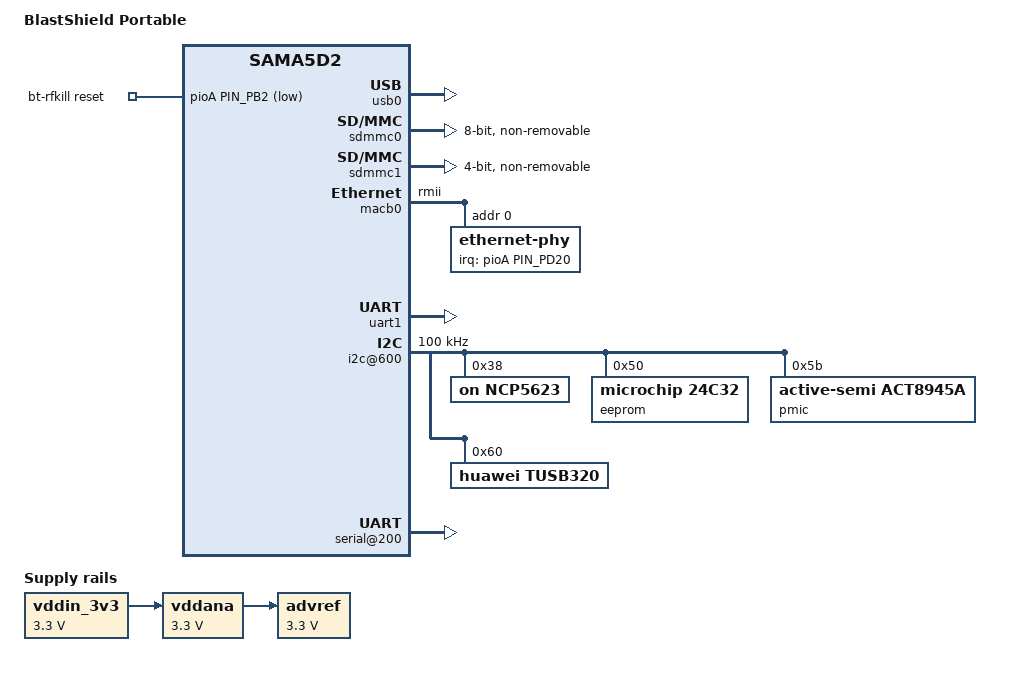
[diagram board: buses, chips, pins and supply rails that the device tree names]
// SPDX-License-Identifier: (GPL-2.0+ OR MIT)
/*
 * at91-sama5d27_som1_ek.dts - Device Tree file for SAMA5D27-SOM1-EK board
 *
 *  Copyright (c) 2017, Microchip Technology Inc.
 *                2016 Nicolas Ferre <nicolas.ferre@atmel.com>
 *                2017 Cristian Birsan <cristian.birsan@microchip.com>
 *                2017 Claudiu Beznea <claudiu.beznea@microchip.com>
 */
/dts-v1/;
#include "sama5d2.dtsi"
#include "sama5d2-pinfunc.h"
#include <dt-bindings/mfd/atmel-flexcom.h>
#include <dt-bindings/gpio/gpio.h>

/ {
	model = "BlastShield Portable";
	compatible = "blastwave,blastshield-portable-v2", "atmel,sama5d27",
	    "atmel,sama5d2", "atmel,sama5";

	aliases {
		serial0 = &uart1;	/* DBGU */
	};

	chosen {
		stdout-path = "serial0:115200n8";
	};

	clocks {
		slow_xtal {
			clock-frequency = <32768>;
		};

		main_xtal {
			clock-frequency = <12000000>;
		};
	};

	firmware {
		optee {
			compatible = "linaro,optee-tz";
			method = "smc";
		};
	};

	reserved-memory {
		#address-cells = <1>;
		#size-cells = <1>;
		ranges;

		/* op-tee secure memory and shared memory */
		optee@28000000 {
			reg = <0x28000000 0xC00000>;
			no-map;
		};
	};

	bt-rfkill {
		compatible = "net,rfkill-gpio";
		pinctrl-names = "default";
		pinctrl-0 = <&pinctrl_bt_rfkill>;
		name = "bt-rfkill";
		reset-gpios = <&pioA PIN_PB2 GPIO_ACTIVE_LOW>;
		type = <2>; /* Bluetooth */
		status = "okay";
	};

	ahb {
		usb0: gadget@00300000 {
			status = "okay";
		};

		sdmmc0: sdio-host@a0000000 {
			bus-width = <8>;
			pinctrl-names = "default";
			pinctrl-0 = <&pinctrl_sdmmc0_default>;
			non-removable;
			mmc-ddr-1_8v;
			status = "okay";
		};

		sdmmc1: sdio-host@b0000000 {
			bus-width = <4>;
			pinctrl-names = "default";
			pinctrl-0 = <&pinctrl_sdmmc1_default>;
			cap-mmc-hw-reset;
			cap-mmc-highspeed;
			non-removable;
			status = "okay";
		};



		apb {
			macb0: ethernet@f8008000 {
				pinctrl-names = "default";
				pinctrl-0 = <&pinctrl_macb0_default>;
				phy-mode = "rmii";
				status = "okay";

				ethernet-phy@0 {
					reg = <0x0>;
					interrupt-parent = <&pioA>;
					interrupts = <PIN_PD20 IRQ_TYPE_LEVEL_LOW>;
					pinctrl-names = "default";
					pinctrl-0 = <&pinctrl_macb0_phy_irq>;
				};
			};

			uart1: serial@f8020000 {
				pinctrl-names = "default";
				pinctrl-0 = <&pinctrl_uart1_default>;
				atmel,use-dma-rx;
				atmel,use-dma-tx;
				status = "okay";
			};

			flx0: flexcom@f8034000 {
				atmel,flexcom-mode = <ATMEL_FLEXCOM_MODE_TWI>;
				status = "okay";

				i2c@600 {
					compatible = "atmel,sama5d2-i2c";
					reg = <0x600 0x100>;
					interrupts = <19 IRQ_TYPE_LEVEL_HIGH 7>;
					#address-cells = <1>;
					#size-cells = <0>;
					clocks = <&flx0_clk>;
					clock-names = "i2c2_clk";
					clock-frequency = <100000>;
					pinctrl-names = "default";
					pinctrl-0 = <&pinctrl_flx0_i2c>;

					ncp5623: ncp5623@38 {
						compatible = "on,ncp5623";
						reg = <0x38>;
					};

					eeprom: eeprom@50 {
						compatible = "microchip,24c32", "atmel,24c32";
						reg = <0x50>;
						read-only;
						pagesize = <32>;
						status = "okay";
					};

					pmic: pmic@5b {
						compatible = "active-semi,act8945a";
						reg = <0x5b>;
						status = "okay";
					};

					tusb320: tusb320@60 {
						compatible = "huawei,tusb320";
						reg = <0x60>;
					};
				};
			};

			watchdog@f8048040 {
                        				status = "okay";
                        			};


			flx3: flexcom@fc014000 {
				atmel,flexcom-mode = <ATMEL_FLEXCOM_MODE_USART>;
				status = "okay";

				serial@200 {
					compatible = "atmel,at91sam9260-usart";
					reg = <0x200 0x100>;
					interrupts = <22 IRQ_TYPE_LEVEL_HIGH 7>;
					clock-names = "usart";
					clocks = <&flx3_clk>;
					pinctrl-names = "default";
					pinctrl-0 = <&pinctrl_flx3_uart>;
					uart-has-rtscts;
					atmel,fifo-size = <32>;
					status = "okay";
				};
			};

			pinctrl@fc038000 {
				pinctrl_uart1_default: uart1_default {
					pinmux = <PIN_PD2__URXD1>,
						 <PIN_PD3__UTXD1>;
					bias-disable;
				};

				pinctrl_sdmmc0_default: sdmmc0_default {
					cmd_data {
						pinmux = <PIN_PA1__SDMMC0_CMD>,
							 <PIN_PA2__SDMMC0_DAT0>,
							 <PIN_PA3__SDMMC0_DAT1>,
							 <PIN_PA4__SDMMC0_DAT2>,
							 <PIN_PA5__SDMMC0_DAT3>,
							 <PIN_PA6__SDMMC0_DAT4>,
							 <PIN_PA7__SDMMC0_DAT5>,
							 <PIN_PA8__SDMMC0_DAT6>,
							 <PIN_PA9__SDMMC0_DAT7>;
						bias-pull-up;
					};

					ck_cd_rstn_vddsel {
						pinmux = <PIN_PA0__SDMMC0_CK>,
							 <PIN_PA13__SDMMC0_CD>;
						bias-disable;
					};
				};

				pinctrl_sdmmc1_default: sdmmc1_default {
					cmd_data {
						pinmux = <PIN_PA28__SDMMC1_CMD>,
							 <PIN_PA18__SDMMC1_DAT0>,
							 <PIN_PA19__SDMMC1_DAT1>,
							 <PIN_PA20__SDMMC1_DAT2>,
							 <PIN_PA21__SDMMC1_DAT3>;
						bias-pull-up;
					};

					conf-ck_cd {
						pinmux = <PIN_PA22__SDMMC1_CK>,
							 <PIN_PA27__SDMMC1_RSTN>,
							 <PIN_PA30__SDMMC1_CD>;
						bias-disable;
					};
				};

				pinctrl_macb0_default: macb0_default {
					pinmux = <PIN_PC10__GTXCK>,
						 <PIN_PC11__GTXEN>,
						 <PIN_PC12__GRXDV>,
						 <PIN_PC13__GRXER>,
						 <PIN_PC14__GRX0>,
						 <PIN_PC15__GRX1>,
						 <PIN_PC16__GTX0>,
						 <PIN_PC17__GTX1>,
						 <PIN_PC18__GMDC>,
						 <PIN_PC19__GMDIO>;
					bias-disable;
				};

				pinctrl_macb0_phy_irq: macb0_phy_irq {
					pinmux = <PIN_PD20__GPIO>;
					bias-disable;
				};

				pinctrl_flx0_i2c: flx0_i2c {
					pinmux = <PIN_PB28__FLEXCOM0_IO0>,
						 <PIN_PB29__FLEXCOM0_IO1>;
					bias-disable;
				};

				pinctrl_flx3_uart: flx3_uart {
					pinmux = <PIN_PB22__FLEXCOM3_IO1>,
						 <PIN_PB23__FLEXCOM3_IO0>,
						 <PIN_PB24__FLEXCOM3_IO3>,
						 <PIN_PB25__FLEXCOM3_IO4>;
					bias-disable;
				};

				pinctrl_bt_rfkill: bt_rfkill {
					pinmux = <PIN_PB2__GPIO>;
					bias-disable;
				};
			};
		};
	};

	vddin_3v3: fixed-regulator-vddin_3v3 {
		compatible = "regulator-fixed";

		regulator-name = "VDDIN_3V3";
		regulator-min-microvolt = <3300000>;
		regulator-max-microvolt = <3300000>;
		regulator-always-on;
		regulator-boot-on;
		status = "okay";
	};

	vddana: fixed-regulator-vddana {
		compatible = "regulator-fixed";

		regulator-name = "VDDANA";
		regulator-min-microvolt = <3300000>;
		regulator-max-microvolt = <3300000>;
		regulator-always-on;
		regulator-boot-on;
		vin-supply = <&vddin_3v3>;
		status = "okay";
	};

	advref: fixed-regulator-advref {
		compatible = "regulator-fixed";

		regulator-name = "advref";
		regulator-min-microvolt = <3300000>;
		regulator-max-microvolt = <3300000>;
		regulator-always-on;
		regulator-boot-on;
		vin-supply = <&vddana>;
		status = "okay";
	};
};
